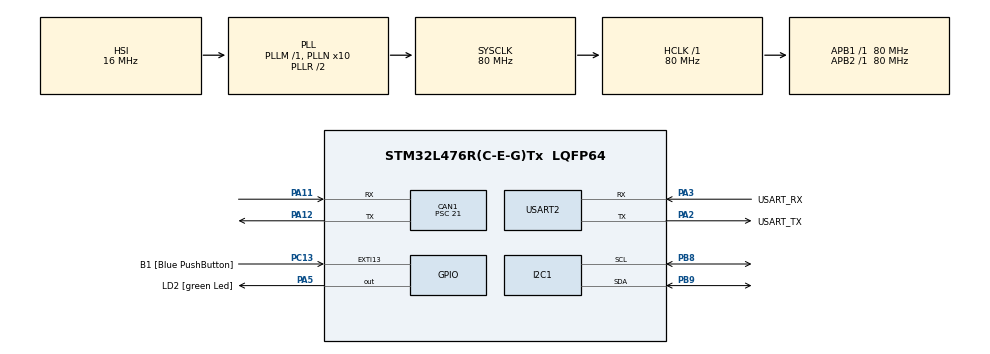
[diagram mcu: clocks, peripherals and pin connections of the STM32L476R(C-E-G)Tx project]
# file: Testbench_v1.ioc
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CAN1.BS1=CAN_BS1_12TQ
CAN1.BS2=CAN_BS2_4TQ
CAN1.CalculateTimeQuantum=262.5
CAN1.Prescaler=21
I2C1.Timing=0x10909CEC
Mcu.Family=STM32L4
Mcu.Name=STM32L476R(C-E-G)Tx
Mcu.Package=LQFP64
NVIC.CAN1_RX0_IRQn=true\:0\:0\:false\:false\:true\:true\:true
NVIC.PriorityGroup=NVIC_PRIORITYGROUP_4
PA11.Mode=Master
PA11.Signal=CAN1_RX
PA12.Mode=Master
PA12.Signal=CAN1_TX
PA13\ (JTMS-SWDIO).GPIO_Label=TMS
PA13\ (JTMS-SWDIO).Mode=Serial_Wire
PA13\ (JTMS-SWDIO).Signal=SYS_JTMS-SWDIO
PA14\ (JTCK-SWCLK).GPIO_Label=TCK
PA14\ (JTCK-SWCLK).Mode=Serial_Wire
PA14\ (JTCK-SWCLK).Signal=SYS_JTCK-SWCLK
PA2.GPIO_Label=USART_TX
PA2.GPIO_Mode=GPIO_MODE_AF_PP
PA2.GPIO_PuPd=GPIO_NOPULL
PA2.GPIO_Speed=GPIO_SPEED_FREQ_VERY_HIGH
PA2.Mode=Asynchronous
PA2.Signal=USART2_TX
PA3.GPIO_Label=USART_RX
PA3.GPIO_Mode=GPIO_MODE_AF_PP
PA3.GPIO_PuPd=GPIO_NOPULL
PA3.GPIO_Speed=GPIO_SPEED_FREQ_VERY_HIGH
PA3.Mode=Asynchronous
PA3.Signal=USART2_RX
PA5.GPIO_Label=LD2 [green Led]
PA5.GPIO_ModeDefaultOutputPP=GPIO_MODE_OUTPUT_PP
PA5.GPIO_PuPd=GPIO_NOPULL
PA5.GPIO_Speed=GPIO_SPEED_FREQ_LOW
PA5.Signal=GPIO_Output
PB3\ (JTDO-TRACESWO).GPIO_Label=SWO
PB3\ (JTDO-TRACESWO).Signal=SYS_JTDO-SWO
PB8.Mode=I2C
PB8.Signal=I2C1_SCL
PB9.Mode=I2C
PB9.Signal=I2C1_SDA
PC13.GPIO_Label=B1 [Blue PushButton]
PC13.GPIO_ModeDefaultEXTI=GPIO_MODE_IT_FALLING
PC13.GPIO_PuPd=GPIO_NOPULL
PC13.Signal=GPXTI13
PC14-OSC32_IN\ (PC14).Mode=LSE-External-Oscillator
PC14-OSC32_IN\ (PC14).Signal=RCC_OSC32_IN
PC15-OSC32_OUT\ (PC15).Mode=LSE-External-Oscillator
PC15-OSC32_OUT\ (PC15).Signal=RCC_OSC32_OUT
PH0-OSC_IN\ (PH0).Signal=RCC_OSC_IN
PH1-OSC_OUT\ (PH1).Signal=RCC_OSC_OUT
ProjectManager.HeapSize=0x200
ProjectManager.StackSize=0x400
ProjectManager.TargetToolchain=STM32CubeIDE
RCC.ADCFreq_Value=64000000
RCC.AHBFreq_Value=80000000
RCC.APB1Freq_Value=80000000
RCC.APB1TimFreq_Value=80000000
RCC.APB2Freq_Value=80000000
RCC.APB2TimFreq_Value=80000000
RCC.CortexFreq_Value=80000000
RCC.HCLKFreq_Value=80000000
RCC.HSE_VALUE=8000000
RCC.HSI_VALUE=16000000
RCC.MSI_VALUE=4000000
RCC.PLLN=10
RCC.PLLSourceVirtual=RCC_PLLSOURCE_HSI
RCC.PREFETCH_ENABLE=1
RCC.SYSCLKFreq_VALUE=80000000
RCC.SYSCLKSource=RCC_SYSCLKSOURCE_PLLCLK
RCC.USBFreq_Value=64000000
RCC.VCOOutputFreq_Value=160000000
USART2.VirtualMode-Asynchronous=VM_ASYNC
board=NUCLEO-L476RG

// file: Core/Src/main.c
/* USER CODE BEGIN Header */
/**
  ******************************************************************************
  * @file           : main.c
  * @brief          : Main program body
  ******************************************************************************
  * @attention
  *
  * <h2><center>&copy; Copyright (c) 2020 STMicroelectronics.
  * All rights reserved.</center></h2>
  *
  * This software component is licensed by ST under BSD 3-Clause license,
  * the "License"; You may not use this file except in compliance with the
  * License. You may obtain a copy of the License at:
  *                        opensource.org/licenses/BSD-3-Clause
  *
  ******************************************************************************
  */
/* USER CODE END Header */

#include "main.h"

/* USER CODE BEGIN Includes */
#include "string.h"
#include "stdio.h"

/* USER CODE END Includes */

/* USER CODE BEGIN PD */
#include "i2c-lcd.h"
/* USER CODE END PD */

CAN_HandleTypeDef hcan1;

I2C_HandleTypeDef hi2c1;

UART_HandleTypeDef huart2;

/* USER CODE BEGIN PV */
CAN_TxHeaderTypeDef TxHeader;
CAN_RxHeaderTypeDef RxHeader;
uint32_t TxMailBox;
uint8_t state, a, r, retVal;
uint16_t OwnID 		= 0x123;
uint16_t RemoteID 	= 0x124;
char lcdMsg[16];

/* USER CODE END PV */

void SystemClock_Config(void);
static void MX_GPIO_Init(void);
static void MX_USART2_UART_Init(void);
static void MX_I2C1_Init(void);
static void MX_CAN1_Init(void);
/* USER CODE BEGIN PFP */
void SystemClock_Config(void);
/* USER CODE BEGIN PFP */
uint8_t serialMsg(char msg[]);
void serialClear(void);
void HAL_CAN_RxFifo0FullCallback(CAN_HandleTypeDef *hcan);
void CAN_filterConfig(void);
void CAN1_Tx(char msg[]);
void CAN1_Rx(void);

/* USER CODE END PFP */

int main(void)
{

  /* MCU Configuration--------------------------------------------------------*/

  /* Reset of all peripherals, Initializes the Flash interface and the Systick. */
  HAL_Init();

  /* Configure the system clock */
  SystemClock_Config();

  /* Initialize all configured peripherals */
  MX_GPIO_Init();
  MX_USART2_UART_Init();
  MX_I2C1_Init();
  MX_CAN1_Init();
  /* USER CODE BEGIN 2 */
  lcd_init();
  lcd_put_cur(0,0);
  lcd_send_string("***Init!***");
  HAL_Delay(1000);
  for(int i=3;i>=0;i--){
	  lcd_put_cur(1,0);
	  sprintf(lcdMsg,"%d", i);
	  lcd_send_string(lcdMsg);
	  HAL_Delay(1000);
  }
  lcd_clear();
  /* USER CODE END 2 */

  /* Infinite loop */
  while (1)
  {

  }
}

void SystemClock_Config(void)
{
  RCC_OscInitTypeDef RCC_OscInitStruct = {0};
  RCC_ClkInitTypeDef RCC_ClkInitStruct = {0};
  RCC_PeriphCLKInitTypeDef PeriphClkInit = {0};

  /** Initializes the CPU, AHB and APB busses clocks
  */
  RCC_OscInitStruct.OscillatorType = RCC_OSCILLATORTYPE_HSI;
  RCC_OscInitStruct.HSIState = RCC_HSI_ON;
  RCC_OscInitStruct.HSICalibrationValue = RCC_HSICALIBRATION_DEFAULT;
  RCC_OscInitStruct.PLL.PLLState = RCC_PLL_ON;
  RCC_OscInitStruct.PLL.PLLSource = RCC_PLLSOURCE_HSI;
  RCC_OscInitStruct.PLL.PLLM = 1;
  RCC_OscInitStruct.PLL.PLLN = 10;
  RCC_OscInitStruct.PLL.PLLP = RCC_PLLP_DIV7;
  RCC_OscInitStruct.PLL.PLLQ = RCC_PLLQ_DIV2;
  RCC_OscInitStruct.PLL.PLLR = RCC_PLLR_DIV2;
  if (HAL_RCC_OscConfig(&RCC_OscInitStruct) != HAL_OK)
  {
    Error_Handler();
  }
  /** Initializes the CPU, AHB and APB busses clocks
  */
  RCC_ClkInitStruct.ClockType = RCC_CLOCKTYPE_HCLK|RCC_CLOCKTYPE_SYSCLK
                              |RCC_CLOCKTYPE_PCLK1|RCC_CLOCKTYPE_PCLK2;
  RCC_ClkInitStruct.SYSCLKSource = RCC_SYSCLKSOURCE_PLLCLK;
  RCC_ClkInitStruct.AHBCLKDivider = RCC_SYSCLK_DIV1;
  RCC_ClkInitStruct.APB1CLKDivider = RCC_HCLK_DIV1;
  RCC_ClkInitStruct.APB2CLKDivider = RCC_HCLK_DIV1;

  if (HAL_RCC_ClockConfig(&RCC_ClkInitStruct, FLASH_LATENCY_4) != HAL_OK)
  {
    Error_Handler();
  }
  PeriphClkInit.PeriphClockSelection = RCC_PERIPHCLK_USART2|RCC_PERIPHCLK_I2C1;
  PeriphClkInit.Usart2ClockSelection = RCC_USART2CLKSOURCE_PCLK1;
  PeriphClkInit.I2c1ClockSelection = RCC_I2C1CLKSOURCE_PCLK1;
  if (HAL_RCCEx_PeriphCLKConfig(&PeriphClkInit) != HAL_OK)
  {
    Error_Handler();
  }
  /** Configure the main internal regulator output voltage
  */
  if (HAL_PWREx_ControlVoltageScaling(PWR_REGULATOR_VOLTAGE_SCALE1) != HAL_OK)
  {
    Error_Handler();
  }
}

static void MX_CAN1_Init(void)
{

  hcan1.Instance = CAN1;
  hcan1.Init.Prescaler = 21;
  hcan1.Init.Mode = CAN_MODE_NORMAL;
  hcan1.Init.SyncJumpWidth = CAN_SJW_1TQ;
  hcan1.Init.TimeSeg1 = CAN_BS1_12TQ;
  hcan1.Init.TimeSeg2 = CAN_BS2_4TQ;
  hcan1.Init.TimeTriggeredMode = DISABLE;
  hcan1.Init.AutoBusOff = DISABLE;
  hcan1.Init.AutoWakeUp = DISABLE;
  hcan1.Init.AutoRetransmission = DISABLE;
  hcan1.Init.ReceiveFifoLocked = DISABLE;
  hcan1.Init.TransmitFifoPriority = DISABLE;
  if (HAL_CAN_Init(&hcan1) != HAL_OK)
  {
    Error_Handler();
  }

}

static void MX_I2C1_Init(void)
{

  hi2c1.Instance = I2C1;
  hi2c1.Init.Timing = 0x10909CEC;
  hi2c1.Init.OwnAddress1 = 0;
  hi2c1.Init.AddressingMode = I2C_ADDRESSINGMODE_7BIT;
  hi2c1.Init.DualAddressMode = I2C_DUALADDRESS_DISABLE;
  hi2c1.Init.OwnAddress2 = 0;
  hi2c1.Init.OwnAddress2Masks = I2C_OA2_NOMASK;
  hi2c1.Init.GeneralCallMode = I2C_GENERALCALL_DISABLE;
  hi2c1.Init.NoStretchMode = I2C_NOSTRETCH_DISABLE;
  if (HAL_I2C_Init(&hi2c1) != HAL_OK)
  {
    Error_Handler();
  }
  /** Configure Analogue filter
  */
  if (HAL_I2CEx_ConfigAnalogFilter(&hi2c1, I2C_ANALOGFILTER_ENABLE) != HAL_OK)
  {
    Error_Handler();
  }
  /** Configure Digital filter
  */
  if (HAL_I2CEx_ConfigDigitalFilter(&hi2c1, 0) != HAL_OK)
  {
    Error_Handler();
  }

}

static void MX_USART2_UART_Init(void)
{

  huart2.Instance = USART2;
  huart2.Init.BaudRate = 115200;
  huart2.Init.WordLength = UART_WORDLENGTH_8B;
  huart2.Init.StopBits = UART_STOPBITS_1;
  huart2.Init.Parity = UART_PARITY_NONE;
  huart2.Init.Mode = UART_MODE_TX_RX;
  huart2.Init.HwFlowCtl = UART_HWCONTROL_NONE;
  huart2.Init.OverSampling = UART_OVERSAMPLING_16;
  huart2.Init.OneBitSampling = UART_ONE_BIT_SAMPLE_DISABLE;
  huart2.AdvancedInit.AdvFeatureInit = UART_ADVFEATURE_NO_INIT;
  if (HAL_UART_Init(&huart2) != HAL_OK)
  {
    Error_Handler();
  }

}

static void MX_GPIO_Init(void)
{
  GPIO_InitTypeDef GPIO_InitStruct = {0};

  /* GPIO Ports Clock Enable */
  __HAL_RCC_GPIOC_CLK_ENABLE();
  __HAL_RCC_GPIOH_CLK_ENABLE();
  __HAL_RCC_GPIOA_CLK_ENABLE();
  __HAL_RCC_GPIOB_CLK_ENABLE();

  /*Configure GPIO pin Output Level */
  HAL_GPIO_WritePin(LD2_GPIO_Port, LD2_Pin, GPIO_PIN_RESET);

  /*Configure GPIO pin : B1_Pin */
  GPIO_InitStruct.Pin = B1_Pin;
  GPIO_InitStruct.Mode = GPIO_MODE_IT_FALLING;
  GPIO_InitStruct.Pull = GPIO_NOPULL;
  HAL_GPIO_Init(B1_GPIO_Port, &GPIO_InitStruct);

  /*Configure GPIO pin : LD2_Pin */
  GPIO_InitStruct.Pin = LD2_Pin;
  GPIO_InitStruct.Mode = GPIO_MODE_OUTPUT_PP;
  GPIO_InitStruct.Pull = GPIO_NOPULL;
  GPIO_InitStruct.Speed = GPIO_SPEED_FREQ_LOW;
  HAL_GPIO_Init(LD2_GPIO_Port, &GPIO_InitStruct);

}

/* USER CODE BEGIN 4 */
uint8_t serialMsg(char msg[]){
	if(strlen(msg)<50){
		HAL_UART_Transmit(&huart2, (uint8_t*)msg, strlen(msg), HAL_MAX_DELAY);
		return 1;
	}

	else
		return 0;
}

void serialClear(void){
	serialMsg("\n\n\n\n\n\n\n\n\n\n\n\n\n\n\n\n\n\n\n\n");
}

void HAL_CAN_RxFifo0FullCallback(CAN_HandleTypeDef *hcan){

	if(hcan) return;
}

void CAN1_Tx(char msg[]){

	if(strlen(msg)<9);

	else
		return;
	TxHeader.DLC 	= 8;
    TxHeader.IDE 	= CAN_ID_STD;
	TxHeader.RTR 	= CAN_RTR_DATA;
	TxHeader.StdId = OwnID;

	if(HAL_CAN_AddTxMessage(&hcan1, &TxHeader, (uint8_t*)msg,  &TxMailBox) != HAL_OK) Error_Handler();

	while(HAL_CAN_IsTxMessagePending(&hcan1, TxMailBox));
	serialMsg("Message Transmitted\r\n");

}

void CAN1_Rx(void){

	uint8_t crx[8];
	RxHeader.DLC 	= 8;
	RxHeader.IDE 	= CAN_ID_STD;
	RxHeader.RTR 	= CAN_RTR_DATA;
	RxHeader.StdId = RemoteID;

	if(HAL_CAN_GetRxMessage(&hcan1, CAN_RX_FIFO0, &RxHeader, crx) != HAL_OK ){
		Error_Handler();
		return;
	}
		serialMsg((char*)crx);
		lcd_put_cur(0,0);
		lcd_send_string((char*)crx);
}

void CAN_filterConfig(void){ //Setting the filters

	CAN_FilterTypeDef filterConfig;
	filterConfig.FilterBank				= 0;
	filterConfig.FilterActivation 		= ENABLE;
	filterConfig.FilterFIFOAssignment 	= CAN_FILTER_FIFO0;
	filterConfig.FilterIdHigh 			= 0x0000;
	filterConfig.FilterIdLow 			= 0x0000;
	filterConfig.FilterMaskIdHigh		= 0x0000;
	filterConfig.FilterMaskIdLow 		= 0x0000;
	filterConfig.FilterMode				= CAN_FILTERMODE_IDMASK;
	filterConfig.FilterScale 			= CAN_FILTERSCALE_32BIT;

	HAL_CAN_ConfigFilter(&hcan1, &filterConfig);

}

/* USER CODE END 4 */

void Error_Handler(void)
{
}

/************************ (C) COPYRIGHT STMicroelectronics *****END OF FILE****/
